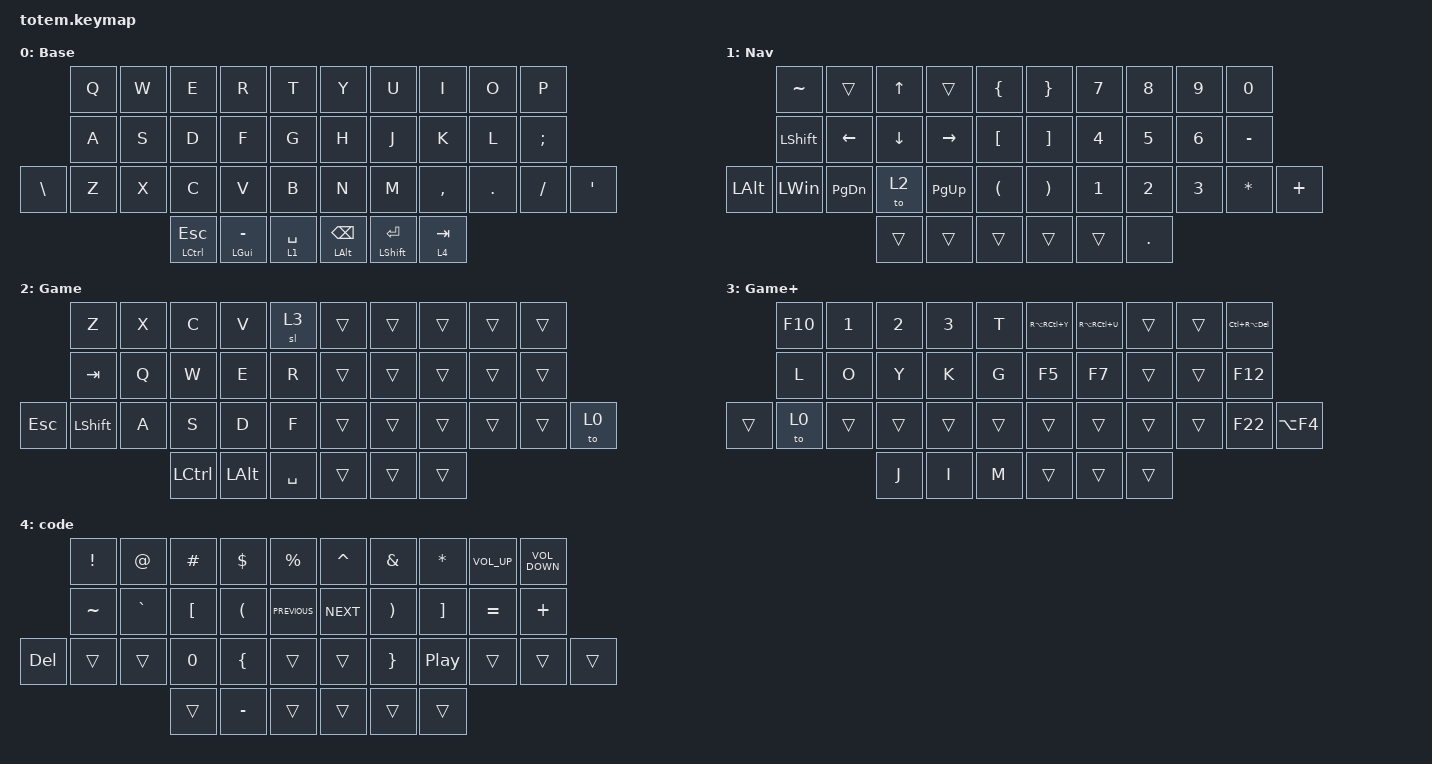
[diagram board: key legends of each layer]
//
//                                                        ▀▀▀▀▀     ▀▀▀▀▀          ▀▀█▀▀
//                                                        ▄▀▀▀▄  ▄  ▄▀▀▀▄  ▄  ▄▀▀▀▄  █  ▄▀▀▀▄
//                                                        █   █  █  █   █  █  █   █  █  █   █
//                                                         ▀▀▀   █   ▀▀▀   █   ▀▀▀   ▀   ▀▀▀
//                                                               █      ▄▄▄█▄▄▄    █   █  
//                                                               ▀      █  █  █     █▄█
//                                                             ▀▀▀▀▀    █  █  █      ▀
//                                                                      ▀  ▀  ▀
//
// ▄▄▄▄▄▄▄▄▄▄▄▄▄▄▄▄▄▄▄▄▄▄▄▄▄▄▄▄▄▄▄▄▄▄▄▄▄▄▄▄▄▄▄▄▄▄▄▄▄▄▄▄▄▄▄▄▄▄▄▄▄▄▄▄▄▄▄▄▄▄▄▄▄▄▄▄▄▄▄▄▄▄▄▄▄▄▄▄▄▄▄▄▄▄▄▄▄▄▄▄▄▄▄▄▄▄▄▄▄▄▄▄▄▄▄▄▄▄▄▄▄▄▄▄▄▄▄▄▄▄▄▄▄▄▄▄▄▄▄▄▄▄▄▄▄▄▄▄▄

#include <behaviors.dtsi>
#include <dt-bindings/zmk/keys.h>

#define Base        0
#define Nav         1
#define Sym         2
#define Fun         3
#define Game        4
#define Gameplus    5

&mt {
    quick-tap-ms = <100>;
    global-quick-tap;
    flavor = "tap-preferred";
    tapping-term-ms = <170>;
};

&lt {
    tapping-term-ms = <240>;
    flavor = "balanced";
    quick-tap-ms = <150>;
};

/ {
    behaviors {
        st: space_layer {
            compatible = "zmk,behavior-hold-tap";
            #binding-cells = <2>;
            bindings = <&mo>, <&kp>;

            tapping-term-ms = <180>;
            flavor = "tap-preferred";
            quick-tap-ms = <150>;
            require-prior-idle-ms = <125>;
        };
    };
};

/ {
    behaviors {
        hm: homerow_mods {
            compatible = "zmk,behavior-hold-tap";
            label = "HOMEROW_MODS";
            #binding-cells = <2>;
            flavor = "tap-preferred";
            tapping-term-ms = <200>;
            quick-tap-ms = <125>;
            global-quick-tap;
            bindings = <&kp>, <&kp>;
        };
    };

    combos { compatible = "zmk,combos"; };

    keymap {
        compatible = "zmk,keymap";

        Base {
            display-name = "Base";
            bindings = <
          &kp Q  &kp W  &kp E             &kp R               &kp T          &kp Y                   &kp U            &kp I      &kp O    &kp P
          &kp A  &kp S  &kp D             &kp F               &kp G          &kp H                   &kp J            &kp K      &kp L    &kp SEMICOLON
&kp BSLH  &kp Z  &kp X  &kp C             &kp V               &kp B          &kp N                   &kp M            &kp COMMA  &kp DOT  &kp SLASH      &kp APOSTROPHE
                        &mt LCTRL ESCAPE  &mt LEFT_GUI MINUS  &st 1 SPACE    &mt LEFT_ALT BACKSPACE  &mt LSHFT ENTER  &st 4 TAB
            >;
        };

        Nav {
            display-name = "Nav";
            bindings = <
              &kp TILDE       &trans         &kp UP_ARROW  &trans     &kp LBRC    &kp RBRC  &kp NUMBER_7  &kp NUMBER_8  &kp NUMBER_9  &kp NUMBER_0
              &kp LEFT_SHIFT  &kp LEFT       &kp DOWN      &kp RIGHT  &kp LBKT    &kp RBKT  &kp NUMBER_4  &kp NUMBER_5  &kp NUMBER_6  &kp MINUS
&kp LEFT_ALT  &kp LEFT_WIN    &kp PAGE_DOWN  &to 2         &kp PG_UP  &kp LPAR    &kp RPAR  &kp NUMBER_1  &kp NUMBER_2  &kp NUMBER_3  &kp ASTERISK  &kp PLUS
                                             &trans        &trans     &trans      &trans    &trans        &kp DOT
            >;
        };

        Gaming {
            display-name = "Game";
            bindings = <
            &kp Z           &kp X  &kp C      &kp V         &sl 3        &trans  &trans  &trans  &trans  &trans
            &kp TAB         &kp Q  &kp W      &kp E         &kp R        &trans  &trans  &trans  &trans  &trans
&kp ESCAPE  &kp LEFT_SHIFT  &kp A  &kp S      &kp D         &kp F        &trans  &trans  &trans  &trans  &trans  &to 0
                                   &kp LCTRL  &kp LEFT_ALT  &kp SPACE    &trans  &trans  &trans
            >;
        };

        Gaming+ {
            display-name = "Game+";
            bindings = <
        &kp F10  &kp NUMBER_1  &kp NUMBER_2  &kp NUMBER_3  &kp T     &kp RA(RC(Y))  &kp RA(RC(U))  &trans  &trans  &kp LC(RA(DEL))
        &kp L    &kp O         &kp Y         &kp K         &kp G     &kp F5         &kp F7         &trans  &trans  &kp F12
&trans  &to 0    &trans        &trans        &trans        &trans    &trans         &trans         &trans  &trans  &kp F22          &kp LA(F4)
                               &kp J         &kp I         &kp M     &trans         &trans         &trans
            >;
        };

        code {
            bindings = <
            &kp EXCLAMATION  &kp AT_SIGN  &kp HASH          &kp DOLLAR            &kp PERCENT       &kp CARET   &kp AMPERSAND          &kp ASTERISK       &kp C_VOLUME_UP  &kp C_VOLUME_DOWN
            &kp TILDE        &kp GRAVE    &kp LEFT_BRACKET  &kp LEFT_PARENTHESIS  &kp C_PREVIOUS    &kp C_NEXT  &kp RIGHT_PARENTHESIS  &kp RIGHT_BRACKET  &kp EQUAL        &kp PLUS
&kp DELETE  &trans           &trans       &kp N0            &kp LEFT_BRACE        &trans            &trans      &kp RIGHT_BRACE        &kp C_PLAY_PAUSE   &trans           &trans             &trans
                                          &trans            &kp MINUS             &trans            &trans      &trans                 &trans
            >;
        };
    };
};
